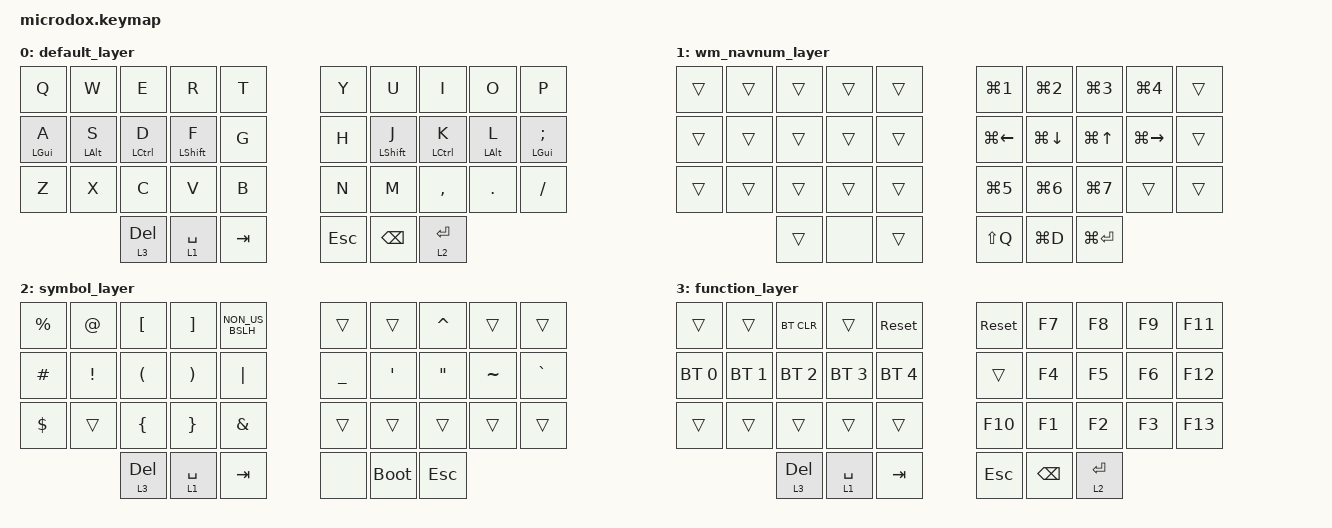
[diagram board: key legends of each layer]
#include <behaviors.dtsi>
#include <dt-bindings/zmk/bt.h>
#include <dt-bindings/zmk/keys.h>

/ {
    keymap {
        compatible = "zmk,keymap";

        default_layer {
            bindings = <
&kp Q       &kp W       &kp E        &kp R        &kp T      &kp Y    &kp U        &kp I        &kp O       &kp P
&mt LGUI A  &mt LALT S  &mt LCTRL D  &mt LSHFT F  &kp G      &kp H    &mt LSHFT J  &mt LCTRL K  &mt LALT L  &mt LGUI SEMI
&kp Z       &kp X       &kp C        &kp V        &kp B      &kp N    &kp M        &kp COMMA    &kp DOT     &kp FSLH
                        &lt 3 DEL    &lt 1 SPACE  &kp TAB    &kp ESC  &kp BSPC     &lt 2 RET
            >;
        };

        wm_navnum_layer {
            bindings = <
&trans  &trans  &trans  &trans  &trans    &kp LG(NUMBER_1)  &kp LG(NUMBER_2)  &kp LG(NUMBER_3)  &kp LG(NUMBER_4)  &trans
&trans  &trans  &trans  &trans  &trans    &kp LG(LEFT)      &kp LG(DOWN)      &kp LG(UP)        &kp LG(RIGHT)     &trans
&trans  &trans  &trans  &trans  &trans    &kp LG(N5)        &kp LG(NUMBER_6)  &kp LG(N7)        &trans            &trans
                &trans  &none   &trans    &kp LS(Q)         &kp LG(D)         &kp LG(ENTER)
            >;
        };

        symbol_layer {
            bindings = <
&kp PRCNT  &kp AT    &kp LBKT   &kp RBKT     &kp NON_US_BSLH    &trans     &trans       &kp CARET          &trans     &trans
&kp HASH   &kp EXCL  &kp LPAR   &kp RPAR     &kp PIPE           &kp UNDER  &kp APOS     &kp DOUBLE_QUOTES  &kp TILDE  &kp GRAVE
&kp DLLR   &trans    &kp LBRC   &kp RBRC     &kp AMPS           &trans     &trans       &trans             &trans     &trans
                     &lt 3 DEL  &lt 1 SPACE  &kp TAB            &none      &bootloader  &kp ESC
            >;
        };

        function_layer {
            bindings = <
&trans        &trans        &bt BT_CLR    &trans        &sys_reset      &sys_reset  &kp F7    &kp F8     &kp F9  &kp F11
&bt BT_SEL 0  &bt BT_SEL 1  &bt BT_SEL 2  &bt BT_SEL 3  &bt BT_SEL 4    &trans      &kp F4    &kp F5     &kp F6  &kp F12
&trans        &trans        &trans        &trans        &trans          &kp F10     &kp F1    &kp F2     &kp F3  &kp F13
                            &lt 3 DEL     &lt 1 SPACE   &kp TAB         &kp ESC     &kp BSPC  &lt 2 RET
            >;
        };
    };
};
